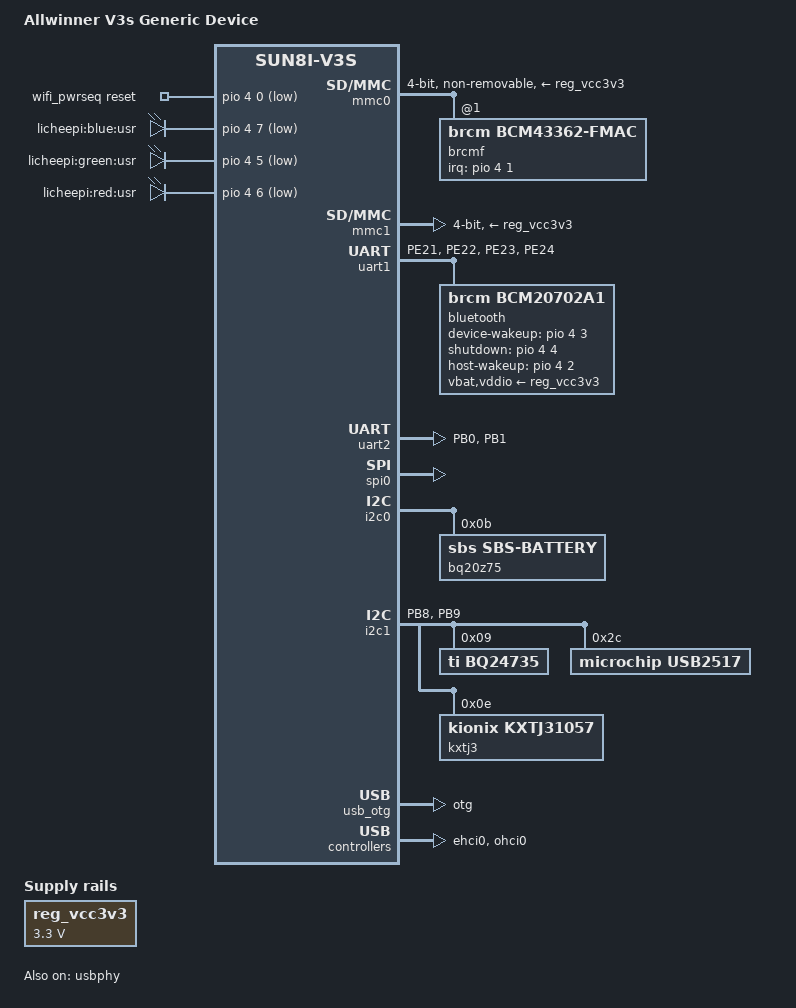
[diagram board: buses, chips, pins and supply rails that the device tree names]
/*
 * Copyright (C) 2016 Icenowy Zheng <icenowy@aosc.xyz>
 *
 * This file is dual-licensed: you can use it either under the terms
 * of the GPL or the X11 license, at your option. Note that this dual
 * licensing only applies to this file, and not this project as a
 * whole.
 *
 *  a) This file is free software; you can redistribute it and/or
 *     modify it under the terms of the GNU General Public License as
 *     published by the Free Software Foundation; either version 2 of the
 *     License, or (at your option) any later version.
 *
 *     This file is distributed in the hope that it will be useful,
 *     but WITHOUT ANY WARRANTY; without even the implied warranty of
 *     MERCHANTABILITY or FITNESS FOR A PARTICULAR PURPOSE.  See the
 *     GNU General Public License for more details.
 *
 * Or, alternatively,
 *
 *  b) Permission is hereby granted, free of charge, to any person
 *     obtaining a copy of this software and associated documentation
 *     files (the "Software"), to deal in the Software without
 *     restriction, including without limitation the rights to use,
 *     copy, modify, merge, publish, distribute, sublicense, and/or
 *     sell copies of the Software, and to permit persons to whom the
 *     Software is furnished to do so, subject to the following
 *     conditions:
 *
 *     The above copyright notice and this permission notice shall be
 *     included in all copies or substantial portions of the Software.
 *
 *     THE SOFTWARE IS PROVIDED "AS IS", WITHOUT WARRANTY OF ANY KIND,
 *     EXPRESS OR IMPLIED, INCLUDING BUT NOT LIMITED TO THE WARRANTIES
 *     OF MERCHANTABILITY, FITNESS FOR A PARTICULAR PURPOSE AND
 *     NONINFRINGEMENT. IN NO EVENT SHALL THE AUTHORS OR COPYRIGHT
 *     HOLDERS BE LIABLE FOR ANY CLAIM, DAMAGES OR OTHER LIABILITY,
 *     WHETHER IN AN ACTION OF CONTRACT, TORT OR OTHERWISE, ARISING
 *     FROM, OUT OF OR IN CONNECTION WITH THE SOFTWARE OR THE USE OR
 *     OTHER DEALINGS IN THE SOFTWARE.
 */

/dts-v1/;
#include "sun8i-v3s.dtsi"
#include "sunxi-common-regulators.dtsi"

/ {
	model = "Allwinner V3s Generic Device";
    compatible = "teso,teso-funcart-v3s", "allwinner,sun8i-v3s";

	aliases {
		serial0 = &uart2;
		serial1 = &uart1;
		spi0 = &spi0;
		i2c0 = &i2c0;
	};

	chosen {
		stdout-path = "serial0:115200n8";
	};	
	
    reg_vcc3v3: vcc3v3 {
		compatible = "regulator-fixed";
		regulator-name = "vcc3v3";
		regulator-min-microvolt = <3300000>;
		regulator-max-microvolt = <3300000>;
	};
	
	wifi_pwrseq: wifi_pwrseq {
		compatible = "mmc-pwrseq-simple";
		reset-gpios = <&pio 4 0 GPIO_ACTIVE_LOW>; /* PE0 WIFI-EN */
        clocks = <&rtc 1>;
		clock-names = "ext_clock";
	};
	
    leds {
        compatible = "gpio-leds";

        blue_led {
			label = "licheepi:blue:usr";
			gpios = <&pio 4 7 GPIO_ACTIVE_LOW>; /* PE7 */
		};

        green_led {
			label = "licheepi:green:usr";
			gpios = <&pio 4 5 GPIO_ACTIVE_LOW>; /* PE5 */
			default-state = "on";
		};

        red_led {
			label = "licheepi:red:usr";
			gpios = <&pio 4 6 GPIO_ACTIVE_LOW>; /* PE6 */
		};
	};
};

&mmc0 {
    vmmc-supply = <&reg_vcc3v3>;
	vqmmc-supply = <&reg_vcc3v3>;
	mmc-pwrseq = <&wifi_pwrseq>;
    bus-width = <4>;
    non-removable;
    no-1-8-v;
	status = "okay";
    
    brcmf: wifi@1 {
		reg = <1>;
		compatible = "brcm,bcm43362-fmac";
		interrupt-parent = <&pio>;
		interrupts = <4 1 IRQ_TYPE_LEVEL_LOW>; /* PE1 */
		interrupt-names = "host-wake";
	};
	
};

&mmc1 {
	broken-cd;
	bus-width = <4>;
	vmmc-supply = <&reg_vcc3v3>;
	status = "okay";
};

 &uart1 {
	pinctrl-names = "default";
	pinctrl-0 = <&uart1_pe_pins>, <&uart1_rts_cts_pins>;
	uart-has-rtscts;
	status = "okay";
	
	bluetooth {
		compatible = "brcm,bcm20702a1";
		clocks = <&rtc 1>;
		clock-names = "lpo";
		vbat-supply = <&reg_vcc3v3>;
		vddio-supply = <&reg_vcc3v3>;
		device-wakeup-gpios = <&pio 4 3 GPIO_ACTIVE_HIGH>; /* PE3 */
		shutdown-gpios = <&pio 4 4 GPIO_ACTIVE_HIGH>; /* PE4 */
        /*interrupt-parent = <&pio>;*/
		/*interrupts = <4 2 IRQ_TYPE_LEVEL_LOW>;*/ /* PE2 */
		/*interrupt-names = "host-wakeup";*/
        host-wakeup-gpios = <&pio 4 2 GPIO_ACTIVE_HIGH>; /* PE2 */
        local-bd-address = [00 12 34 56 78 9A];
		max-speed = <1500000>;
    };
};

&uart2 {
	pinctrl-0 = <&uart2_pb_pins>;
	pinctrl-names = "default";
	status = "okay";
};

&spi0 {
    status = "okay";
};

&pio {
	i2c1_pins: i2c1-pins {
		pins = "PB8", "PB9";
		function = "i2c1";
    };
    
    uart1_pe_pins: uart1-pe-pins {
        pins = "PE21", "PE22";
        function = "uart1";
    };
    
    uart1_rts_cts_pins: uart1-rts-cts-pins {
        pins = "PE23", "PE24";
        function = "uart1";
    };
    
    uart2_pb_pins: uart2-pb-pins {
        pins = "PB0", "PB1";
        function = "uart2";
    };
};

&i2c0 {
    status = "okay";
    bq20z75: bq20z75@b {
        compatible = "sbs,sbs-battery";
        reg = <0xb>;
        sbs,i2c-retry-count=<2>;
        sbs,poll-retry-count=<1>;
    };
};

&i2c1 {
    status = "okay";
    pinctrl-names = "default";
    pinctrl-0 = <&i2c1_pins>;
    
    bq24735: bq24735@9 {
        compatible = "ti,bq24735";
        reg = <0x9>;
        ti,charge-current=<1472>;
        ti,charge-voltage=<14592>;
        ti,input-current=<1536>;
        poll-interval=<20000>;
        #ti,external-control;
    };
    usb2517: usb2517@2c {
		compatible = "microchip,usb2517";
		reg = <0x2c>;
	};
    kxtj3: kxtj3@e {
		compatible = "kionix,kxtj31057";
        reg = <0xe>;
		status = "okay";
		phandle = <0x10>;
    };
};

&usb_otg {
	dr_mode = "otg";
	status = "okay";
};

&usbphy {
	usb0_id_det-gpios = <&pio 5 6 GPIO_ACTIVE_HIGH>; /* PF6 */
	status = "okay";
};

&ehci0 {
    status = "okay";
};

&ohci0 {
    status = "okay";
};
 
